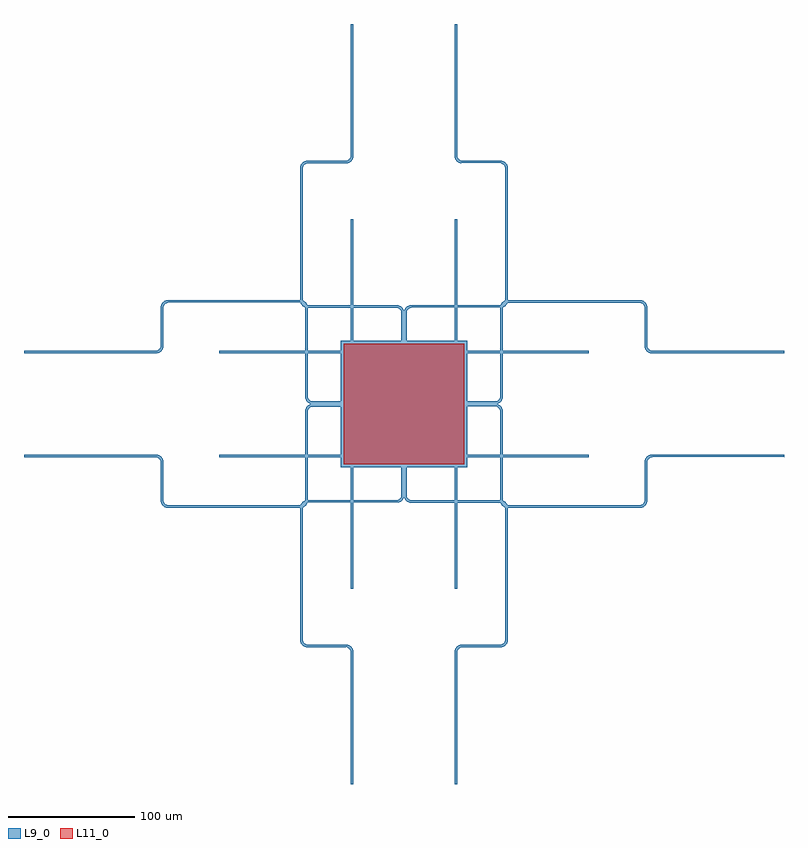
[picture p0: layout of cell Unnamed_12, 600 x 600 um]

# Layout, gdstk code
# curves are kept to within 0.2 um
from math import pi, radians
import gdstk
lib = gdstk.Library(unit=1e-6, precision=1e-09)
def R(c, l, rs):  # rectangles x0, y0, x1, y1
    for r in rs: c.add(gdstk.rectangle(r[:2], r[2:], *l))
def P(c, l, *ps):  # polygons
    for p in ps: c.add(gdstk.Polygon(p, *l))
L9_0 = (9, 0)
L11_0 = (11, 0)

rectangle_s95_95_l11_0__ = lib.new_cell('rectangle_S95_95_L11_0__3836f13c')
R(rectangle_s95_95_l11_0__, L11_0, [(0,0,95,95)])

unnamed_15 = lib.new_cell('Unnamed_15')
P(unnamed_15, L9_0, [(227.987,-41),(225.85,-40.602),(223.985,-39.459),(222.654,-37.724),(222.033,-35.627),(221.994,35.209),(221.654,36.627),(220.972,37.676),(219.816,38.564),(218.626,38.95),(112.764,38.804),(110.892,37.517),(110.022,35.418),(109.869,3.752),(109.346,2.276),(108.243,0.757),(106.724,-0.346),(104.939,-0.926),(0,-1),(0,1),(105.236,1.196),(107.108,2.483),(107.978,4.582),(108.131,36.248),(108.968,38.268),(110.224,39.663),(111.85,40.602),(113.987,41),(218.013,41),(219.854,40.707),(221.527,39.854),(223.346,37.724),(223.992,35.314),(224.022,-35.418),(224.436,-36.816),(225.172,-37.828),(226.184,-38.564),(227.582,-38.978),(332.626,-38.95),(334.828,-37.828),(335.564,-36.816),(335.978,-35.418),(336.131,-3.752),(336.654,-2.276),(337.541,-0.985),(338.732,0.032),(340.146,0.707),(341.987,1),(446,1),(446,-1),(342.013,-1),(340.567,-1.266),(338.764,-2.649),(338.022,-4.582),(337.869,-36.248),(337.346,-37.724),(336.243,-39.243),(334.724,-40.346),(333.248,-40.869)])

unnamed_13 = lib.new_cell('Unnamed_13')
unnamed_13.add(gdstk.Reference(unnamed_15, (0,0), rotation=pi/2))

unnamed_14 = lib.new_cell('Unnamed_14')
unnamed_14.add(gdstk.Reference(unnamed_13, (41,-300), rotation=pi, x_reflection=True))
unnamed_14.add(gdstk.Reference(unnamed_13, (-41,-300)))

rectangle_s100_100_l9_0_ = lib.new_cell('rectangle_S100_100_L9_0_112211a6')
R(rectangle_s100_100_l9_0_, L9_0, [(0,0,100,100)])

unnamed_12 = lib.new_cell('Unnamed_12')
unnamed_12.add(gdstk.Reference(rectangle_s95_95_l11_0__, (-47.5,-47.5)))
unnamed_12.add(gdstk.Reference(unnamed_14, (0,0), x_reflection=True))
unnamed_12.add(gdstk.Reference(rectangle_s100_100_l9_0_, (-50,-50)))
unnamed_12.add(gdstk.Reference(unnamed_14, (0,0), rotation=pi/2))
unnamed_12.add(gdstk.Reference(unnamed_14, (0,0), rotation=3*pi/2))
unnamed_12.add(gdstk.Reference(unnamed_14, (0,0)))

lib.write_gds('Unnamed_12.gds')
